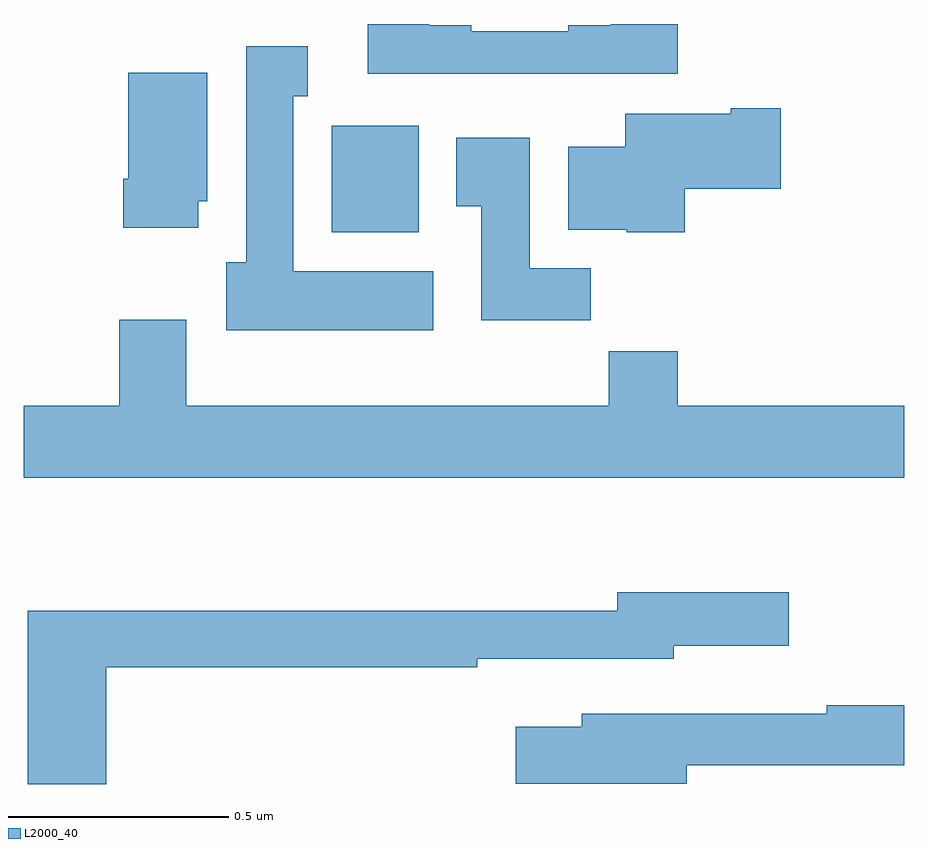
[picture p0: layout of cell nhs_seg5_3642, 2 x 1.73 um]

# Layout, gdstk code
import gdstk
lib = gdstk.Library(unit=1e-6, precision=1e-09)
def R(c, l, rs):  # rectangles x0, y0, x1, y1
    for r in rs: c.add(gdstk.rectangle(r[:2], r[2:], *l))
def P(c, l, *ps):  # polygons
    for p in ps: c.add(gdstk.Polygon(p, *l))
L2000_40 = (2000, 40)

nhs_seg5_3642 = lib.new_cell('nhs_seg5_3642')
R(nhs_seg5_3642, L2000_40, [(160.7,849.326,160.897,849.568)])
P(nhs_seg5_3642, L2000_40, [(161.486,849.799),(161.333,849.799),(161.333,849.796),(161.237,849.796),(161.237,849.783),(161.017,849.783),(161.017,849.796),(160.921,849.796),(160.921,849.799),(160.781,849.799),(160.781,849.686),(161.486,849.686)],
  [(160.93,849.238),(160.612,849.238),(160.612,849.635),(160.645,849.635),(160.645,849.748),(160.505,849.748),(160.505,849.258),(160.46,849.258),(160.46,849.104),(160.93,849.104)],
  [(160.396,849.396),(160.417,849.396),(160.417,849.688),(160.238,849.688),(160.238,849.448),(160.226,849.448),(160.226,849.336),(160.396,849.336)],
  [(161.501,849.425),(161.719,849.425),(161.719,849.608),(161.606,849.608),(161.606,849.595),(161.366,849.595),(161.366,849.52),(161.237,849.52),(161.237,849.332),(161.37,849.332),(161.37,849.326),(161.501,849.326)],
  [(161.288,849.244),(161.149,849.244),(161.149,849.541),(160.982,849.541),(160.982,849.385),(161.039,849.385),(161.039,849.126),(161.288,849.126)],
  [(162,848.932),(161.486,848.932),(161.486,849.056),(161.329,849.056),(161.329,848.932),(160.369,848.932),(160.369,849.127),(160.217,849.127),(160.217,848.932),(160,848.932),(160,848.768),(162,848.768)],
  [(160.187,848.338),(161.03,848.338),(161.03,848.358),(161.476,848.358),(161.476,848.387),(161.737,848.387),(161.737,848.509),(161.348,848.509),(161.348,848.467),(160.009,848.467),(160.009,848.073),(160.187,848.073)],
  [(161.506,848.116),(162,848.116),(162,848.252),(161.824,848.252),(161.824,848.233),(161.267,848.233),(161.267,848.203),(161.118,848.203),(161.118,848.074),(161.506,848.074)])

lib.write_gds('nhs_seg5_3642.gds')
